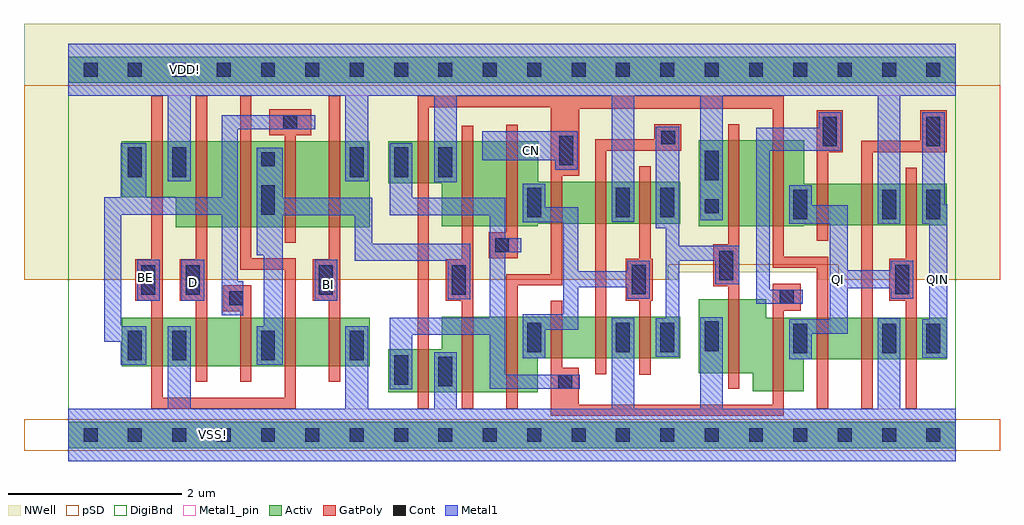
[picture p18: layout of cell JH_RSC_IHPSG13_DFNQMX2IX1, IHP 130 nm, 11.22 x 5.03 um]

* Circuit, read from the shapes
.subckt JH_RSC_IHPSG13_DFNQMX2IX1 BE BI CN D QI QIN VDD! VSS!
XM1 VSS! BE n1 VSS! sg13_lv_nmos w=0.56u l=0.13u
XM2 n2 D VSS! VSS! sg13_lv_nmos w=0.56u l=0.13u
XM3 n3 n1 n2 VSS! sg13_lv_nmos w=0.56u l=0.13u
XM4 n4 BE n3 VSS! sg13_lv_nmos w=0.56u l=0.13u
XM5 VSS! BI n4 VSS! sg13_lv_nmos w=0.56u l=0.13u
XM6 VSS! CN n5 VSS! sg13_lv_nmos w=0.495u l=0.13u
XM7 n6 n3 VSS! VSS! sg13_lv_nmos w=0.87u l=0.13u
XM8 n7 CN n6 VSS! sg13_lv_nmos w=0.87u l=0.13u
XM9 n8 n5 n7 VSS! sg13_lv_nmos w=0.48u l=0.13u
XM10 VSS! n9 n8 VSS! sg13_lv_nmos w=0.48u l=0.13u
XM11 n9 n7 VSS! VSS! sg13_lv_nmos w=0.48u l=0.13u
XM12 n10 n9 VSS! VSS! sg13_lv_nmos w=0.85u l=0.13u
XM13 QI n5 n10 VSS! sg13_lv_nmos w=0.85u l=0.13u
XM14 n11 CN QI VSS! sg13_lv_nmos w=0.48u l=0.13u
XM15 VSS! QIN n11 VSS! sg13_lv_nmos w=0.48u l=0.13u
XM16 QIN QI VSS! VSS! sg13_lv_nmos w=0.48u l=0.13u
XM17 VDD! BE n1 VDD! sg13_lv_pmos w=0.645u l=0.13u
XM18 n12 D VDD! VDD! sg13_lv_pmos w=0.985u l=0.13u
XM19 n3 BE n12 VDD! sg13_lv_pmos w=0.985u l=0.13u
XM20 n13 n1 n3 VDD! sg13_lv_pmos w=0.985u l=0.13u
XM21 VDD! BI n13 VDD! sg13_lv_pmos w=0.985u l=0.13u
XM22 VDD! CN n5 VDD! sg13_lv_pmos w=0.48u l=0.13u
XM23 n14 n3 VDD! VDD! sg13_lv_pmos w=0.975u l=0.13u
XM24 n7 n5 n14 VDD! sg13_lv_pmos w=0.975u l=0.13u
XM25 n15 CN n7 VDD! sg13_lv_pmos w=0.48u l=0.13u
XM26 VDD! n9 n15 VDD! sg13_lv_pmos w=0.48u l=0.13u
XM27 n9 n7 VDD! VDD! sg13_lv_pmos w=0.48u l=0.13u
XM28 n16 n9 VDD! VDD! sg13_lv_pmos w=0.99u l=0.13u
XM29 QI CN n16 VDD! sg13_lv_pmos w=0.99u l=0.13u
XM30 n17 n5 QI VDD! sg13_lv_pmos w=0.48u l=0.13u
XM31 VDD! QIN n17 VDD! sg13_lv_pmos w=0.48u l=0.13u
XM32 QIN QI VDD! VDD! sg13_lv_pmos w=0.48u l=0.13u
.ends

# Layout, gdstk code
import gdstk
lib = gdstk.Library(unit=1e-6, precision=1e-09)
def R(c, l, rs):  # rectangles x0, y0, x1, y1
    for r in rs: c.add(gdstk.rectangle(r[:2], r[2:], *l))
def A(c, l, x, y, w, h, nx, ny, dx, dy):  # array of equal rectangles
    R(c, l, [(x+i*dx, y+j*dy, x+i*dx+w, y+j*dy+h) for i in range(nx) for j in range(ny)])
def P(c, l, *ps):  # polygons
    for p in ps: c.add(gdstk.Polygon(p, *l))
Activ = (1, 0)
GatPoly = (5, 0)
Cont = (6, 0)
Metal1 = (8, 0)
Metal1_pin = (8, 2)
pSD = (14, 0)
DigiBnd = (16, 0)
NWell = (31, 0)

jh_rsc_ihpsg13_dfnqmx2ix = lib.new_cell('JH_RSC_IHPSG13_DFNQMX2IX1')
R(jh_rsc_ihpsg13_dfnqmx2ix, Activ, [(0,-0.15,10.2,0.15), (0.615,0.79,3.465,1.35), (0,4.05,10.2,4.35)])
P(jh_rsc_ihpsg13_dfnqmx2ix, Activ, [(1.235,2.39),(1.235,2.73),(0.615,2.73),(0.615,3.375),(3.465,3.375),(3.465,2.39)],
  [(4.295,2.4),(4.295,2.895),(3.675,2.895),(3.675,3.375),(5.4,3.375),(5.4,2.91),(7.035,2.91),(7.035,2.43),(5.395,2.43),(5.395,2.4)],
  [(3.675,0.49),(3.675,0.985),(4.295,0.985),(4.295,1.36),(7.035,1.36),(7.035,0.88),(5.395,0.88),(5.395,0.49)],
  [(7.245,2.4),(7.245,3.39),(8.46,3.39),(8.46,2.89),(10.095,2.89),(10.095,2.41),(8.455,2.41),(8.455,2.4)],
  [(7.865,0.5),(7.865,0.71),(7.245,0.71),(7.245,1.56),(8.025,1.56),(8.025,1.35),(10.095,1.35),(10.095,0.87),(8.455,0.87),(8.455,0.5)])
P(jh_rsc_ihpsg13_dfnqmx2ix, GatPoly, [(1.465,0.61),(1.465,1.54),(1.28,1.54),(1.28,2.02),(1.465,2.02),(1.465,3.9),(1.595,3.9),(1.595,0.61)],
  [(1.975,0.61),(1.975,1.42),(1.78,1.42),(1.78,1.72),(2.105,1.72),(2.105,0.61)],
  [(0.955,0.3),(0.955,1.54),(0.77,1.54),(0.77,2.02),(0.955,2.02),(0.955,3.9),(1.085,3.9),(1.085,0.43),(2.485,0.43),(2.485,1.9),(1.975,1.9),(1.975,3.9),(2.105,3.9),(2.105,2.03),(2.615,2.03),(2.615,0.3)],
  [(2.485,2.21),(2.485,3.445),(2.31,3.445),(2.31,3.745),(2.79,3.745),(2.79,3.445),(2.615,3.445),(2.615,2.21)],
  [(2.995,0.61),(2.995,1.54),(2.81,1.54),(2.81,2.02),(2.995,2.02),(2.995,3.9),(3.125,3.9),(3.125,0.61)],
  [(4.525,0.3),(4.525,1.54),(4.34,1.54),(4.34,2.02),(4.525,2.02),(4.525,3.555),(4.655,3.555),(4.655,0.3)],
  [(4.835,2.03),(4.835,2.33),(5.035,2.33),(5.035,3.565),(5.165,3.565),(5.165,2.03)],
  [(6.565,0.695),(6.565,1.545),(6.405,1.545),(6.405,2.025),(6.565,2.025),(6.565,3.09),(6.695,3.09),(6.695,2.025),(6.72,2.025),(6.72,1.545),(6.695,1.545),(6.695,0.695)],
  [(6.055,0.7),(6.055,3.4),(6.735,3.4),(6.735,3.57),(7.045,3.57),(7.045,3.27),(6.185,3.27),(6.185,0.7)],
  [(7.585,0.53),(7.585,1.71),(7.415,1.71),(7.415,2.19),(7.585,2.19),(7.585,3.57),(7.715,3.57),(7.715,0.53)],
  [(5.545,0.22),(5.545,1.54),(5.675,1.54),(5.675,0.77),(5.87,0.77),(5.87,0.35),(8.095,0.35),(8.095,1.74),(8.42,1.74),(8.42,1.43),(8.225,1.43),(8.225,0.22)],
  [(4.015,0.3),(4.015,3.9),(8.225,3.9),(8.225,2.05),(8.735,2.05),(8.735,0.3),(8.605,0.3),(8.605,1.92),(8.095,1.92),(8.095,3.75),(5.875,3.75),(5.875,2.98),(5.675,2.98),(5.675,1.72),(5.165,1.72),(5.165,0.3),(5.035,0.3),(5.035,1.85),(5.545,1.85),(5.545,3.77),(4.145,3.77),(4.145,0.3)],
  [(8.605,2.23),(8.605,3.73),(8.905,3.73),(8.905,3.25),(8.735,3.25),(8.735,2.23)],
  [(9.625,0.3),(9.625,1.545),(9.435,1.545),(9.435,2.025),(9.625,2.025),(9.625,3.07),(9.755,3.07),(9.755,0.3)],
  [(9.115,0.3),(9.115,3.385),(9.795,3.385),(9.795,3.73),(10.095,3.73),(10.095,3.25),(9.245,3.25),(9.245,0.3)])
A(jh_rsc_ihpsg13_dfnqmx2ix, Cont, 0.175, -0.08, 0.16, 0.16, 20, 2, 0.51, 4.2)
A(jh_rsc_ihpsg13_dfnqmx2ix, Cont, 1.195, 0.86, 0.16, 0.34, 3, 1, 1.02, 0)
A(jh_rsc_ihpsg13_dfnqmx2ix, Cont, 1.35, 1.61, 0.16, 0.34, 3, 1, 1.53, 0)
A(jh_rsc_ihpsg13_dfnqmx2ix, Cont, 3.235, 2.965, 0.16, 0.34, 3, 1, 0.51, 0)
R(jh_rsc_ihpsg13_dfnqmx2ix, Cont, [(5.63,0.53,5.79,0.69), (4.255,0.56,4.415,0.9), (3.745,0.575,3.905,0.915), (0.685,0.86,0.845,1.2), (8.335,0.94,8.495,1.28), (9.355,0.94,9.515,1.28), (9.865,0.94,10.025,1.28), (5.275,0.95,5.435,1.29), (6.295,0.95,6.455,1.29), (6.805,0.95,6.965,1.29), (7.315,0.965,7.475,1.305), (1.85,1.49,2.01,1.65), (8.18,1.51,8.34,1.67), (0.84,1.61,1,1.95), (6.475,1.615,6.635,1.955), (9.505,1.615,9.665,1.955), (7.485,1.78,7.645,2.12), (4.905,2.1,5.065,2.26), (8.335,2.48,8.495,2.82), (9.355,2.48,9.515,2.82), (9.865,2.48,10.025,2.82), (5.275,2.5,5.435,2.84), (6.295,2.5,6.455,2.84), (6.805,2.5,6.965,2.84), (2.215,2.53,2.375,2.87), (7.315,2.55,7.475,2.71), (7.315,2.93,7.475,3.27), (0.685,2.965,0.845,3.305), (1.195,2.965,1.355,3.305), (2.215,3.09,2.375,3.25), (5.645,3.1,5.805,3.44), (8.675,3.32,8.835,3.66), (9.865,3.32,10.025,3.66), (6.815,3.34,6.975,3.5), (2.47,3.515,2.63,3.675)])
R(jh_rsc_ihpsg13_dfnqmx2ix, Metal1, [(0.79,1.545,1.05,2.015), (1.3,1.545,1.56,2.015), (2.83,1.545,3.09,2.015)])
P(jh_rsc_ihpsg13_dfnqmx2ix, Metal1, [(0.6,0.81),(0.6,1.07),(0.41,1.07),(0.41,2.73),(0.6,2.73),(0.6,3.355),(0.895,3.355),(0.895,2.73),(1.765,2.73),(1.765,3.675),(2.84,3.675),(2.84,3.515),(1.945,3.515),(1.945,1.765),(2.01,1.765),(2.01,1.375),(1.765,1.375),(1.765,2.53),(0.61,2.53),(0.61,1.25),(0.895,1.25),(0.895,0.81)],
  [(2.165,0.81),(2.165,1.25),(2.245,1.25),(2.245,2.065),(2.165,2.065),(2.165,3.3),(2.465,3.3),(2.465,2.725),(3.495,2.725),(3.495,2.2),(4.62,2.2),(4.62,1.56),(4.36,1.56),(4.36,2),(3.295,2),(3.295,2.525),(2.465,2.525),(2.465,0.81)],
  [(5.595,3.05),(5.595,3.16),(4.76,3.16),(4.76,3.49),(5.855,3.49),(5.855,3.05)],
  [(3.695,0.525),(3.695,1.35),(4.845,1.35),(4.845,2.525),(3.695,2.525),(3.695,3.355),(3.955,3.355),(3.955,2.725),(5.025,2.725),(5.025,2.26),(5.205,2.26),(5.205,2.1),(5.025,2.1),(5.025,0.69),(5.88,0.69),(5.88,0.53),(4.845,0.53),(4.845,1.15),(3.955,1.15),(3.955,0.525)],
  [(5.225,0.88),(5.225,1.385),(5.69,1.385),(5.69,2.445),(5.225,2.445),(5.225,2.89),(5.485,2.89),(5.485,2.615),(5.86,2.615),(5.86,1.88),(6.425,1.88),(6.425,2.005),(6.685,2.005),(6.685,1.565),(6.425,1.565),(6.425,1.7),(5.86,1.7),(5.86,1.21),(5.485,1.21),(5.485,0.88)],
  [(6.755,0.9),(6.755,1.34),(6.865,1.34),(6.865,2.375),(6.755,2.375),(6.755,3.545),(7.025,3.545),(7.025,2.175),(7.71,2.175),(7.71,1.73),(7.435,1.73),(7.435,2),(7.025,2),(7.025,0.9)],
  [(7.905,1.51),(7.905,3.53),(8.625,3.53),(8.625,3.71),(8.885,3.71),(8.885,3.27),(8.065,3.27),(8.065,1.67),(8.445,1.67),(8.445,1.51)],
  [(8.285,0.87),(8.285,1.33),(8.75,1.33),(8.75,2.43),(8.285,2.43),(8.285,2.87),(8.545,2.87),(8.545,2.64),(8.96,2.64),(8.96,1.895),(9.455,1.895),(9.455,2.005),(9.715,2.005),(9.715,1.565),(9.455,1.565),(9.455,1.685),(8.96,1.685),(8.96,1.165),(8.545,1.165),(8.545,0.87)],
  [(9.815,0.89),(9.815,1.33),(9.895,1.33),(9.895,2.43),(9.815,2.43),(9.815,3.71),(10.075,3.71),(10.075,2.65),(10.105,2.65),(10.105,0.89)],
  [(9.305,2.43),(9.305,3.9),(7.525,3.9),(7.525,2.47),(7.265,2.47),(7.265,3.9),(6.505,3.9),(6.505,2.45),(6.245,2.45),(6.245,3.9),(4.465,3.9),(4.465,2.905),(4.205,2.905),(4.205,3.9),(3.445,3.9),(3.445,2.915),(3.185,2.915),(3.185,3.9),(1.405,3.9),(1.405,2.915),(1.145,2.915),(1.145,3.9),(0,3.9),(0,4.5),(10.2,4.5),(10.2,3.9),(9.565,3.9),(9.565,2.43)],
  [(0,-0.3),(0,0.3),(1.145,0.3),(1.145,1.25),(1.405,1.25),(1.405,0.3),(3.185,0.3),(3.185,1.25),(3.445,1.25),(3.445,0.3),(4.205,0.3),(4.205,0.95),(4.465,0.95),(4.465,0.3),(6.245,0.3),(6.245,1.35),(6.505,1.35),(6.505,0.3),(7.265,0.3),(7.265,1.355),(7.525,1.355),(7.525,0.3),(9.305,0.3),(9.305,1.34),(9.565,1.34),(9.565,0.3),(10.2,0.3),(10.2,-0.3)])
R(jh_rsc_ihpsg13_dfnqmx2ix, Metal1_pin, [(0,-0.3,10.2,0.3), (9.895,0.89,10.105,2.65), (8.75,1.165,8.96,2.64), (0.79,1.545,1.05,2.015), (1.3,1.545,1.56,2.015), (2.83,1.545,3.09,2.015), (4.76,3.16,5.855,3.49), (0,3.9,10.2,4.5)])
R(jh_rsc_ihpsg13_dfnqmx2ix, pSD, [(-0.51,-0.18,10.71,0.18)])
P(jh_rsc_ihpsg13_dfnqmx2ix, pSD, [(-0.51,1.785),(-0.51,4.02),(10.71,4.02),(10.71,1.785),(8.85,1.785),(8.85,1.955),(6.895,1.955),(6.895,1.785)])
R(jh_rsc_ihpsg13_dfnqmx2ix, DigiBnd, [(0,-0.3,10.2,4.5)])
P(jh_rsc_ihpsg13_dfnqmx2ix, NWell, [(-0.51,1.785),(-0.51,4.725),(10.71,4.725),(10.71,1.785),(8.62,1.785),(8.62,1.87),(7.01,1.87),(7.01,1.785)])
jh_rsc_ihpsg13_dfnqmx2ix.add(gdstk.Label('BI', (2.99,1.725), layer=8, texttype=2))
jh_rsc_ihpsg13_dfnqmx2ix.add(gdstk.Label('VDD!', (1.35,4.2), layer=8, texttype=2))
jh_rsc_ihpsg13_dfnqmx2ix.add(gdstk.Label('D', (1.435,1.755), layer=8, texttype=2))
jh_rsc_ihpsg13_dfnqmx2ix.add(gdstk.Label('CN', (5.32,3.265), layer=8, texttype=2))
jh_rsc_ihpsg13_dfnqmx2ix.add(gdstk.Label('QIN', (9.995,1.79), layer=8, texttype=2))
jh_rsc_ihpsg13_dfnqmx2ix.add(gdstk.Label('VSS!', (1.665,0), layer=8, texttype=2))
jh_rsc_ihpsg13_dfnqmx2ix.add(gdstk.Label('BE', (0.885,1.815), layer=8, texttype=2))
jh_rsc_ihpsg13_dfnqmx2ix.add(gdstk.Label('QI', (8.85,1.79), layer=8, texttype=2))

lib.write_gds('JH_RSC_IHPSG13_DFNQMX2IX1.gds')
